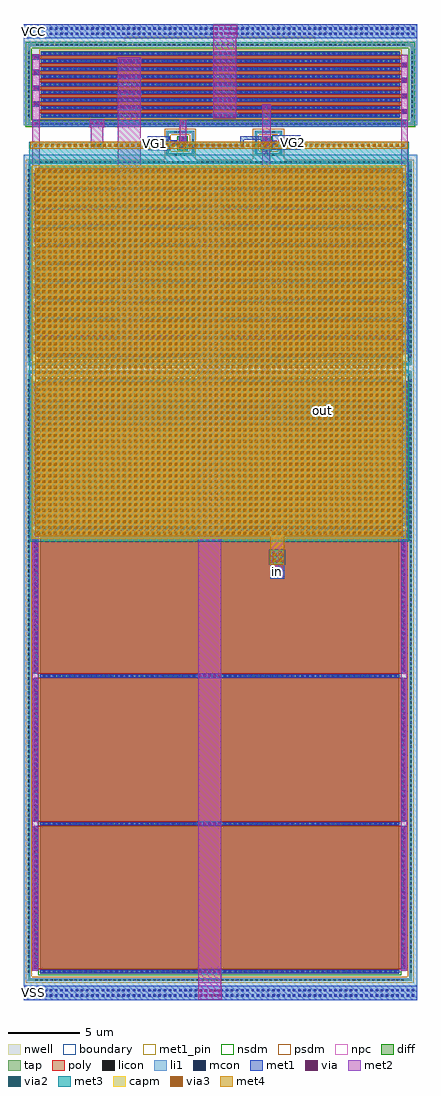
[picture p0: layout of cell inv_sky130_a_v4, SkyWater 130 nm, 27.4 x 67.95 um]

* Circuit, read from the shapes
.subckt inv_sky130_a_v4 VCC VG1 VG2 VSS in out
XM1 VSS out VSS VSS sky130_fd_pr__nfet_01v8 w=25 l=10 m=4
XM2 VSS n1 n2 VSS sky130_fd_pr__nfet_01v8 w=25 l=1 m=10
XM3 n1 VG1 n2 VSS sky130_fd_pr__nfet_01v8 w=0.5 l=0.15
XM4 n2 VG2 out VSS sky130_fd_pr__nfet_01v8 w=0.5 l=0.15
XM5 n2 n1 VCC VCC sky130_fd_pr__pfet_01v8 w=25 l=0.25 m=8
XC6 in n1 sky130_fd_pr__cap_mim_m3_1 w=26 l=26
.ends

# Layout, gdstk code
from math import pi, radians
import gdstk
lib = gdstk.Library(unit=1e-6, precision=1e-09)
def R(c, l, rs):  # rectangles x0, y0, x1, y1
    for r in rs: c.add(gdstk.rectangle(r[:2], r[2:], *l))
def A(c, l, x, y, w, h, nx, ny, dx, dy):  # array of equal rectangles
    R(c, l, [(x+i*dx, y+j*dy, x+i*dx+w, y+j*dy+h) for i in range(nx) for j in range(ny)])
nwell = (64, 20)
diff = (65, 20)
tap = (65, 44)
poly = (66, 20)
licon = (66, 44)
li1 = (67, 20)
mcon = (67, 44)
met1_pin = (68, 16)
met1 = (68, 20)
via = (68, 44)
met2 = (69, 20)
via2 = (69, 44)
met3 = (70, 20)
via3 = (70, 44)
met4 = (71, 20)
capm = (89, 44)
nsdm = (93, 44)
psdm = (94, 20)
npc = (95, 20)
boundary = (235, 4)

sky130_fd_pr__pfet_01v8_ = lib.new_cell('sky130_fd_pr__pfet_01v8_ND7MJ4')
R(sky130_fd_pr__pfet_01v8_, nwell, [(-2.995,-13.595,2.995,13.595)])
R(sky130_fd_pr__pfet_01v8_, diff, [(-2.305,-12.5,2.305,12.5)])
R(sky130_fd_pr__pfet_01v8_, tap, [(-2.815,-13.415,2.815,-13.245), (-2.815,-13.245,-2.645,13.245), (2.645,-13.245,2.815,13.245), (-2.815,13.245,2.815,13.415)])
A(sky130_fd_pr__pfet_01v8_, poly, -2.055, -12.985, 0.33, 0.33, 4, 1, 1.08, 0)
A(sky130_fd_pr__pfet_01v8_, poly, -2.015, -12.655, 0.25, 25.285, 4, 1, 1.08, 0)
A(sky130_fd_pr__pfet_01v8_, poly, -1.475, -12.63, 0.25, 25.285, 4, 1, 1.08, 0)
A(sky130_fd_pr__pfet_01v8_, poly, -1.515, 12.655, 0.33, 0.33, 4, 1, 1.08, 0)
A(sky130_fd_pr__pfet_01v8_, licon, -2.295, -13.415, 0.17, 0.17, 14, 2, 0.34, 26.66)
A(sky130_fd_pr__pfet_01v8_, licon, -1.975, -12.905, 0.17, 0.17, 4, 1, 1.08, 0)
A(sky130_fd_pr__pfet_01v8_, licon, -2.815, -12.835, 0.17, 0.17, 1, 76, 0, 0.34)
A(sky130_fd_pr__pfet_01v8_, licon, 2.645, -12.835, 0.17, 0.17, 1, 76, 0, 0.34)
A(sky130_fd_pr__pfet_01v8_, licon, -2.245, -12.325, 0.17, 0.17, 9, 73, 0.54, 0.34)
A(sky130_fd_pr__pfet_01v8_, licon, -1.435, 12.735, 0.17, 0.17, 4, 1, 1.08, 0)
A(sky130_fd_pr__pfet_01v8_, li1, -2.055, -12.905, 0.33, 0.17, 4, 1, 1.08, 0)
A(sky130_fd_pr__pfet_01v8_, li1, -2.245, -12.52, 0.17, 25.04, 9, 1, 0.54, 0)
A(sky130_fd_pr__pfet_01v8_, li1, -1.515, 12.735, 0.33, 0.17, 4, 1, 1.08, 0)
R(sky130_fd_pr__pfet_01v8_, li1, [(-2.815,-13.415,2.815,-13.245), (-2.815,-13.245,-2.645,13.245), (2.645,-13.245,2.815,13.245), (-2.815,13.245,2.815,13.415)])
A(sky130_fd_pr__pfet_01v8_, mcon, -1.975, -12.905, 0.17, 0.17, 4, 1, 1.08, 0)
A(sky130_fd_pr__pfet_01v8_, mcon, -2.245, -12.325, 0.17, 0.17, 9, 69, 0.54, 0.36)
A(sky130_fd_pr__pfet_01v8_, mcon, -1.435, 12.735, 0.17, 0.17, 4, 1, 1.08, 0)
A(sky130_fd_pr__pfet_01v8_, met1, -2.035, -12.935, 0.29, 0.23, 4, 1, 1.08, 0)
A(sky130_fd_pr__pfet_01v8_, met1, -2.275, -12.5, 0.23, 25, 9, 1, 0.54, 0)
A(sky130_fd_pr__pfet_01v8_, met1, -1.495, 12.705, 0.29, 0.23, 4, 1, 1.08, 0)
R(sky130_fd_pr__pfet_01v8_, nsdm, [(-2.94,-13.54,2.94,-13.12), (-2.94,-13.12,-2.52,13.12), (2.52,-13.12,2.94,13.12), (-2.94,13.12,2.94,13.54)])
R(sky130_fd_pr__pfet_01v8_, psdm, [(-2.43,-12.625,2.43,12.625)])
A(sky130_fd_pr__pfet_01v8_, npc, -2.075, -13.005, 0.37, 0.37, 4, 1, 1.08, 0)
A(sky130_fd_pr__pfet_01v8_, npc, -1.535, 12.635, 0.37, 0.37, 4, 1, 1.08, 0)
R(sky130_fd_pr__pfet_01v8_, boundary, [(-2.73,-13.33,2.73,13.33)])

sky130_fd_pr__nfet_01v8_ = lib.new_cell('sky130_fd_pr__nfet_01v8_FPTJ7W')
R(sky130_fd_pr__nfet_01v8_, diff, [(-6.595,-12.5,6.595,12.5)])
R(sky130_fd_pr__nfet_01v8_, tap, [(-7.105,-13.37,7.105,-13.2), (-7.105,-13.2,-6.935,13.2), (6.935,-13.2,7.105,13.2), (-7.105,13.2,7.105,13.37)])
A(sky130_fd_pr__nfet_01v8_, poly, -6.305, -12.94, 1, 25.88, 10, 1, 1.29, 0)
A(sky130_fd_pr__nfet_01v8_, licon, -6.545, -13.37, 0.17, 0.17, 39, 2, 0.34, 26.57)
A(sky130_fd_pr__nfet_01v8_, licon, -7.105, -12.835, 0.17, 0.17, 1, 76, 0, 0.34)
A(sky130_fd_pr__nfet_01v8_, licon, 6.935, -12.835, 0.17, 0.17, 1, 76, 0, 0.34)
A(sky130_fd_pr__nfet_01v8_, licon, -6.535, -12.325, 0.17, 0.17, 11, 73, 1.29, 0.34)
R(sky130_fd_pr__nfet_01v8_, licon, [(-6.06,-12.86,-5.89,-12.69), (-5.72,-12.86,-5.55,-12.69), (-4.77,-12.86,-4.6,-12.69), (-4.43,-12.86,-4.26,-12.69), (-3.48,-12.86,-3.31,-12.69), (-3.14,-12.86,-2.97,-12.69), (-2.19,-12.86,-2.02,-12.69), (-1.85,-12.86,-1.68,-12.69), (-0.9,-12.86,-0.73,-12.69), (-0.56,-12.86,-0.39,-12.69), (0.39,-12.86,0.56,-12.69), (0.73,-12.86,0.9,-12.69), (1.68,-12.86,1.85,-12.69), (2.02,-12.86,2.19,-12.69), (2.97,-12.86,3.14,-12.69), (3.31,-12.86,3.48,-12.69), (4.26,-12.86,4.43,-12.69), (4.6,-12.86,4.77,-12.69), (5.55,-12.86,5.72,-12.69), (5.89,-12.86,6.06,-12.69), (-6.06,12.69,-5.89,12.86), (-5.72,12.69,-5.55,12.86), (-4.77,12.69,-4.6,12.86), (-4.43,12.69,-4.26,12.86), (-3.48,12.69,-3.31,12.86), (-3.14,12.69,-2.97,12.86), (-2.19,12.69,-2.02,12.86), (-1.85,12.69,-1.68,12.86), (-0.9,12.69,-0.73,12.86), (-0.56,12.69,-0.39,12.86), (0.39,12.69,0.56,12.86), (0.73,12.69,0.9,12.86), (1.68,12.69,1.85,12.86), (2.02,12.69,2.19,12.86), (2.97,12.69,3.14,12.86), (3.31,12.69,3.48,12.86), (4.26,12.69,4.43,12.86), (4.6,12.69,4.77,12.86), (5.55,12.69,5.72,12.86), (5.89,12.69,6.06,12.86)])
A(sky130_fd_pr__nfet_01v8_, li1, -6.305, -12.86, 1, 0.17, 10, 2, 1.29, 25.55)
A(sky130_fd_pr__nfet_01v8_, li1, -6.535, -12.52, 0.17, 25.04, 11, 1, 1.29, 0)
R(sky130_fd_pr__nfet_01v8_, li1, [(-7.105,-13.37,7.105,-13.2), (-7.105,-13.2,-6.935,13.2), (6.935,-13.2,7.105,13.2), (-7.105,13.2,7.105,13.37)])
A(sky130_fd_pr__nfet_01v8_, mcon, -6.535, -12.325, 0.17, 0.17, 11, 69, 1.29, 0.36)
R(sky130_fd_pr__nfet_01v8_, mcon, [(-6.07,-12.86,-5.9,-12.69), (-5.71,-12.86,-5.54,-12.69), (-4.78,-12.86,-4.61,-12.69), (-4.42,-12.86,-4.25,-12.69), (-3.49,-12.86,-3.32,-12.69), (-3.13,-12.86,-2.96,-12.69), (-2.2,-12.86,-2.03,-12.69), (-1.84,-12.86,-1.67,-12.69), (-0.91,-12.86,-0.74,-12.69), (-0.55,-12.86,-0.38,-12.69), (0.38,-12.86,0.55,-12.69), (0.74,-12.86,0.91,-12.69), (1.67,-12.86,1.84,-12.69), (2.03,-12.86,2.2,-12.69), (2.96,-12.86,3.13,-12.69), (3.32,-12.86,3.49,-12.69), (4.25,-12.86,4.42,-12.69), (4.61,-12.86,4.78,-12.69), (5.54,-12.86,5.71,-12.69), (5.9,-12.86,6.07,-12.69), (-6.07,12.69,-5.9,12.86), (-5.71,12.69,-5.54,12.86), (-4.78,12.69,-4.61,12.86), (-4.42,12.69,-4.25,12.86), (-3.49,12.69,-3.32,12.86), (-3.13,12.69,-2.96,12.86), (-2.2,12.69,-2.03,12.86), (-1.84,12.69,-1.67,12.86), (-0.91,12.69,-0.74,12.86), (-0.55,12.69,-0.38,12.86), (0.38,12.69,0.55,12.86), (0.74,12.69,0.91,12.86), (1.67,12.69,1.84,12.86), (2.03,12.69,2.2,12.86), (2.96,12.69,3.13,12.86), (3.32,12.69,3.49,12.86), (4.25,12.69,4.42,12.86), (4.61,12.69,4.78,12.86), (5.54,12.69,5.71,12.86), (5.9,12.69,6.07,12.86)])
A(sky130_fd_pr__nfet_01v8_, met1, -6.285, -12.89, 0.96, 0.23, 10, 2, 1.29, 25.55)
A(sky130_fd_pr__nfet_01v8_, met1, -6.565, -12.5, 0.23, 25, 11, 1, 1.29, 0)
R(sky130_fd_pr__nfet_01v8_, nsdm, [(-6.72,-12.625,6.72,12.625)])
R(sky130_fd_pr__nfet_01v8_, psdm, [(-7.23,-13.495,7.23,-13.075), (-7.23,-13.075,-6.81,13.075), (6.81,-13.075,7.23,13.075), (-7.23,13.075,7.23,13.495)])
A(sky130_fd_pr__nfet_01v8_, npc, -6.16, -12.96, 0.71, 0.37, 10, 2, 1.29, 25.55)
R(sky130_fd_pr__nfet_01v8_, boundary, [(-7.02,-13.285,7.02,13.285)])

c_sky130_fd_pr__nfet_01v8_ = lib.new_cell('sky130_fd_pr__nfet_01v8_4MHCRP')
R(c_sky130_fd_pr__nfet_01v8_, diff, [(-20.725,-12.5,20.725,12.5)])
R(c_sky130_fd_pr__nfet_01v8_, tap, [(-21.235,-13.37,21.235,-13.2), (-21.235,-13.2,-21.065,13.2), (21.065,-13.2,21.235,13.2), (-21.235,13.2,21.235,13.37)])
A(c_sky130_fd_pr__nfet_01v8_, poly, -20.435, -12.94, 10, 25.88, 4, 1, 10.29, 0)
A(c_sky130_fd_pr__nfet_01v8_, licon, -20.655, -13.37, 0.17, 0.17, 122, 2, 0.34, 26.57)
A(c_sky130_fd_pr__nfet_01v8_, licon, -20.28, -12.86, 0.17, 0.17, 29, 2, 0.34, 25.55)
A(c_sky130_fd_pr__nfet_01v8_, licon, -9.99, -12.86, 0.17, 0.17, 29, 2, 0.34, 25.55)
A(c_sky130_fd_pr__nfet_01v8_, licon, 0.3, -12.86, 0.17, 0.17, 29, 2, 0.34, 25.55)
A(c_sky130_fd_pr__nfet_01v8_, licon, 10.59, -12.86, 0.17, 0.17, 29, 2, 0.34, 25.55)
A(c_sky130_fd_pr__nfet_01v8_, licon, -21.235, -12.835, 0.17, 0.17, 1, 76, 0, 0.34)
A(c_sky130_fd_pr__nfet_01v8_, licon, 21.065, -12.835, 0.17, 0.17, 1, 76, 0, 0.34)
A(c_sky130_fd_pr__nfet_01v8_, licon, -20.665, -12.325, 0.17, 0.17, 5, 73, 10.29, 0.34)
A(c_sky130_fd_pr__nfet_01v8_, li1, -20.435, -12.86, 10, 0.17, 4, 2, 10.29, 25.55)
A(c_sky130_fd_pr__nfet_01v8_, li1, -20.665, -12.52, 0.17, 25.04, 5, 1, 10.29, 0)
R(c_sky130_fd_pr__nfet_01v8_, li1, [(-21.235,-13.37,21.235,-13.2), (-21.235,-13.2,-21.065,13.2), (21.065,-13.2,21.235,13.2), (-21.235,13.2,21.235,13.37)])
A(c_sky130_fd_pr__nfet_01v8_, mcon, -20.2, -12.86, 0.17, 0.17, 27, 2, 0.36, 25.55)
A(c_sky130_fd_pr__nfet_01v8_, mcon, -9.91, -12.86, 0.17, 0.17, 27, 2, 0.36, 25.55)
A(c_sky130_fd_pr__nfet_01v8_, mcon, 0.38, -12.86, 0.17, 0.17, 27, 2, 0.36, 25.55)
A(c_sky130_fd_pr__nfet_01v8_, mcon, 10.67, -12.86, 0.17, 0.17, 27, 2, 0.36, 25.55)
A(c_sky130_fd_pr__nfet_01v8_, mcon, -20.665, -12.325, 0.17, 0.17, 5, 69, 10.29, 0.36)
A(c_sky130_fd_pr__nfet_01v8_, met1, -20.415, -12.89, 9.96, 0.23, 4, 2, 10.29, 25.55)
A(c_sky130_fd_pr__nfet_01v8_, met1, -20.695, -12.5, 0.23, 25, 5, 1, 10.29, 0)
R(c_sky130_fd_pr__nfet_01v8_, nsdm, [(-20.85,-12.625,20.85,12.625)])
R(c_sky130_fd_pr__nfet_01v8_, psdm, [(-21.36,-13.495,21.36,-13.075), (-21.36,-13.075,-20.94,13.075), (20.94,-13.075,21.36,13.075), (-21.36,13.075,21.36,13.495)])
A(c_sky130_fd_pr__nfet_01v8_, npc, -20.38, -12.96, 9.89, 0.37, 4, 2, 10.29, 25.55)
R(c_sky130_fd_pr__nfet_01v8_, boundary, [(-21.15,-13.285,21.15,13.285)])

c_sky130_fd_pr__nfet_01v8__ = lib.new_cell('sky130_fd_pr__nfet_01v8_L9KS9E')
R(c_sky130_fd_pr__nfet_01v8__, diff, [(-0.365,-0.405,0.365,0.095)])
R(c_sky130_fd_pr__nfet_01v8__, tap, [(-0.875,-0.965,0.875,-0.795), (-0.875,-0.795,-0.705,0.795), (0.705,-0.795,0.875,0.795), (-0.875,0.795,0.875,0.965)])
R(c_sky130_fd_pr__nfet_01v8__, poly, [(-0.075,-0.535,0.075,0.205), (-0.165,0.205,0.165,0.535)])
A(c_sky130_fd_pr__nfet_01v8__, licon, -0.875, -0.425, 0.17, 0.17, 1, 3, 0, 0.34)
A(c_sky130_fd_pr__nfet_01v8__, licon, 0.705, -0.425, 0.17, 0.17, 1, 3, 0, 0.34)
R(c_sky130_fd_pr__nfet_01v8__, licon, [(-0.255,-0.965,-0.085,-0.795), (0.085,-0.965,0.255,-0.795), (-0.305,-0.24,-0.135,-0.07), (0.135,-0.24,0.305,-0.07), (-0.085,0.285,0.085,0.455), (-0.255,0.795,-0.085,0.965), (0.085,0.795,0.255,0.965)])
R(c_sky130_fd_pr__nfet_01v8__, li1, [(-0.875,-0.965,0.875,-0.795), (-0.875,-0.795,-0.705,0.795), (0.705,-0.795,0.875,0.795), (-0.305,-0.425,-0.135,0.115), (0.135,-0.425,0.305,0.115), (-0.165,0.285,0.165,0.455), (-0.875,0.795,0.875,0.965)])
R(c_sky130_fd_pr__nfet_01v8__, mcon, [(-0.305,-0.24,-0.135,-0.07), (0.135,-0.24,0.305,-0.07), (-0.085,0.285,0.085,0.455)])
R(c_sky130_fd_pr__nfet_01v8__, met1, [(-0.335,-0.405,-0.105,0.095), (0.105,-0.405,0.335,0.095), (-0.145,0.255,0.145,0.485)])
R(c_sky130_fd_pr__nfet_01v8__, nsdm, [(-0.49,-0.53,0.49,0.22)])
R(c_sky130_fd_pr__nfet_01v8__, psdm, [(-1,-1.09,1,-0.67), (-1,-0.67,-0.58,0.67), (0.58,-0.67,1,0.67), (-1,0.67,1,1.09)])
R(c_sky130_fd_pr__nfet_01v8__, npc, [(-0.185,0.185,0.185,0.555)])
R(c_sky130_fd_pr__nfet_01v8__, boundary, [(-0.79,-0.88,0.79,0.88)])

sky130_fd_pr__cap_mim_m3 = lib.new_cell('sky130_fd_pr__cap_mim_m3_1_5UY5E6')
R(sky130_fd_pr__cap_mim_m3, met3, [(-13.93,-13.2,13.93,13.2)])
A(sky130_fd_pr__cap_mim_m3, via3, 13.57, -12.9, 0.2, 0.2, 1, 65, 0, 0.4)
A(sky130_fd_pr__cap_mim_m3, via3, -13.43, -12.7, 0.2, 0.2, 64, 64, 0.4, 0.4)
R(sky130_fd_pr__cap_mim_m3, met4, [(13.43,-13.14,13.91,13.14), (-13.535,-12.805,12.075,12.805)])
R(sky130_fd_pr__cap_mim_m3, capm, [(-13.73,-13,12.27,13)])
R(sky130_fd_pr__cap_mim_m3, boundary, [(-13.93,-13.2,12.47,13.2)])

inv_sky130_a_v4 = lib.new_cell('inv_sky130_a_v4')
R(inv_sky130_a_v4, nwell, [(38.85,54,52.1,54.05), (38.3,54.05,52.1,54.25), (38.3,54.25,51.55,55.2)])
R(inv_sky130_a_v4, li1, [(31.25,-11.9,58.65,-10.5), (31.25,-10.5,31.6,31.85), (58.25,-10.5,58.65,31.85), (31.25,31.85,58.65,32.3), (31.25,32.3,31.6,46.4), (58.25,32.3,58.65,46.35), (31.7,46.35,58.65,46.4), (31.25,46.4,58.65,46.95), (31.25,49,58.65,49.05), (31.25,49.05,31.6,54.55), (58.3,49.05,58.65,54.55), (38.85,54,52.1,54.05), (31.25,54.55,38.3,54.57), (52.1,54.55,58.65,54.57), (31.25,54.57,58.65,56.05)])
A(inv_sky130_a_v4, mcon, 32.71, -11.665, 0.17, 0.17, 72, 2, 0.36, 0.36)
A(inv_sky130_a_v4, mcon, 32.71, 55.285, 0.17, 0.17, 72, 2, 0.36, 0.36)
R(inv_sky130_a_v4, met1_pin, [(31.45,-11.9,32.45,-10.9), (48.4,17.42,49.4,18.42), (51.55,28.65,52.55,29.65), (39.9,47.25,40.9,48.25), (49.55,47.3,50.55,48.3), (31.45,55.05,32.45,56.05)])
A(inv_sky130_a_v4, met1, 31.85, -9.75, 0.4, 9.9, 1, 3, 0, 10.3)
A(inv_sky130_a_v4, met1, 57.55, -9.75, 0.4, 9.95, 1, 3, 0, 10.3)
A(inv_sky130_a_v4, met1, 31.85, 34.4, 0.4, 0.9, 1, 4, 0, 1.3)
A(inv_sky130_a_v4, met1, 57.55, 34.4, 0.4, 0.9, 1, 4, 0, 1.3)
A(inv_sky130_a_v4, met1, 31.85, 39.55, 0.4, 0.9, 1, 5, 0, 1.3)
A(inv_sky130_a_v4, met1, 57.55, 39.55, 0.4, 0.9, 1, 5, 0, 1.3)
A(inv_sky130_a_v4, met1, 57.6, 49.8, 0.4, 0.3, 1, 3, 0, 1.1)
A(inv_sky130_a_v4, met1, 31.85, 50.3, 0.45, 0.35, 1, 3, 0, 1.1)
A(inv_sky130_a_v4, met1, 44.4, 50.6, 1.7, 0.31, 1, 3, 0, 1.08)
R(inv_sky130_a_v4, met1, [(31.25,-11.9,58.65,-10.9), (43.36,-10.08,45.06,-9.77), (43.34,0.22,45.04,0.53), (43.34,10.51,45.04,10.82), (48.4,17.42,49.4,18.42), (48.35,18.42,49.45,19.42), (43.37,20.79,45.07,21.1), (31.85,21.15,32.25,28.1), (57.55,21.15,57.95,28.1), (31.85,28.1,57.95,29.8), (31.85,29.8,32.25,31.05), (57.55,29.8,57.95,31.1), (43.36,31.11,45.06,31.42), (37.77,32.76,39.47,33.07), (31.85,33.15,32.25,34.05), (57.55,33.15,57.95,34.05), (43.34,34.07,45.04,34.38), (37.78,35.34,39.48,35.65), (43.35,36.63,45.05,36.94), (37.76,37.92,39.46,38.23), (43.34,39.23,45.04,39.54), (37.75,40.49,39.45,40.8), (43.32,41.8,45.02,42.11), (37.76,43.08,39.46,43.39), (43.35,44.39,45.05,44.7), (37.74,45.62,39.45,45.98), (47.85,47,48.4,47.6), (39.9,47.25,41.4,47.6), (48.55,47.3,50.55,48.3), (42.1,47.4,46.575,47.65), (39.9,47.6,41.9,47.95), (46.325,47.65,46.575,47.975), (42.05,47.9,42.6,48.25), (47.8,47.9,48.4,47.975), (39.9,47.95,41.4,48.25), (46.325,47.975,48.4,48.225), (47.8,48.225,48.4,48.25), (31.85,48.9,58,49.4), (44.4,49.55,46.1,49.86), (37.76,50.06,39.46,50.37), (47.8,50.1,48.5,50.37), (37.76,51.11,39.46,51.42), (37.76,52.2,39.46,52.51), (57.6,53.05,58,53.35), (37.77,53.32,39.47,53.63), (31.85,53.55,32.3,53.9), (44.4,53.85,46.1,54.16), (31.25,55.05,58.65,56.05)])
A(inv_sky130_a_v4, via, 43.51, -11.64, 0.15, 0.15, 5, 2, 0.32, 0.32)
A(inv_sky130_a_v4, via, 43.495, -10, 0.15, 0.15, 5, 2, 0.32, 41.19)
A(inv_sky130_a_v4, via, 31.975, -9.675, 0.15, 0.15, 1, 31, 0, 0.32)
A(inv_sky130_a_v4, via, 57.675, -9.65, 0.15, 0.15, 1, 31, 0, 0.32)
A(inv_sky130_a_v4, via, 43.475, 0.3, 0.15, 0.15, 5, 2, 0.32, 10.29)
A(inv_sky130_a_v4, via, 31.975, 0.625, 0.15, 0.15, 1, 31, 0, 0.32)
A(inv_sky130_a_v4, via, 57.675, 0.65, 0.15, 0.15, 1, 31, 0, 0.32)
A(inv_sky130_a_v4, via, 31.975, 10.925, 0.15, 0.15, 1, 31, 0, 0.32)
A(inv_sky130_a_v4, via, 57.675, 10.95, 0.15, 0.15, 1, 31, 0, 0.32)
A(inv_sky130_a_v4, via, 48.505, 18.525, 0.15, 0.15, 3, 3, 0.32, 0.32)
A(inv_sky130_a_v4, via, 43.505, 20.87, 0.15, 0.15, 5, 1, 0.32, 0)
A(inv_sky130_a_v4, via, 31.975, 21.225, 0.15, 0.15, 1, 31, 0, 0.32)
A(inv_sky130_a_v4, via, 57.675, 21.25, 0.15, 0.15, 1, 31, 0, 0.32)
A(inv_sky130_a_v4, via, 48.025, 28.395, 0.15, 0.15, 1, 4, 0, 0.32)
A(inv_sky130_a_v4, via, 37.905, 32.84, 0.15, 0.15, 5, 2, 0.32, 20.56)
A(inv_sky130_a_v4, via, 31.975, 33.205, 0.15, 0.15, 1, 3, 0, 0.32)
A(inv_sky130_a_v4, via, 57.675, 33.205, 0.15, 0.15, 1, 3, 0, 0.32)
A(inv_sky130_a_v4, via, 43.475, 34.15, 0.15, 0.15, 5, 2, 0.32, 5.16)
A(inv_sky130_a_v4, via, 31.975, 34.455, 0.15, 0.15, 1, 3, 0, 0.32)
A(inv_sky130_a_v4, via, 57.675, 34.455, 0.15, 0.15, 1, 3, 0, 0.32)
A(inv_sky130_a_v4, via, 37.915, 35.42, 0.15, 0.15, 5, 1, 0.32, 0)
A(inv_sky130_a_v4, via, 31.975, 35.755, 0.15, 0.15, 1, 3, 0, 0.32)
A(inv_sky130_a_v4, via, 57.675, 35.755, 0.15, 0.15, 1, 3, 0, 0.32)
A(inv_sky130_a_v4, via, 43.485, 36.71, 0.15, 0.15, 5, 2, 0.32, 7.76)
A(inv_sky130_a_v4, via, 31.975, 37.055, 0.15, 0.15, 1, 3, 0, 0.32)
A(inv_sky130_a_v4, via, 57.675, 37.055, 0.15, 0.15, 1, 3, 0, 0.32)
A(inv_sky130_a_v4, via, 37.895, 38, 0.15, 0.15, 5, 2, 0.32, 5.16)
A(inv_sky130_a_v4, via, 31.975, 38.355, 0.15, 0.15, 1, 3, 0, 0.32)
A(inv_sky130_a_v4, via, 57.675, 38.355, 0.15, 0.15, 1, 3, 0, 0.32)
A(inv_sky130_a_v4, via, 31.975, 39.605, 0.15, 0.15, 1, 3, 0, 0.32)
A(inv_sky130_a_v4, via, 57.675, 39.605, 0.15, 0.15, 1, 3, 0, 0.32)
A(inv_sky130_a_v4, via, 37.885, 40.57, 0.15, 0.15, 5, 1, 0.32, 0)
A(inv_sky130_a_v4, via, 31.975, 40.905, 0.15, 0.15, 1, 3, 0, 0.32)
A(inv_sky130_a_v4, via, 57.675, 40.905, 0.15, 0.15, 1, 3, 0, 0.32)
A(inv_sky130_a_v4, via, 43.455, 41.88, 0.15, 0.15, 5, 1, 0.32, 0)
A(inv_sky130_a_v4, via, 31.975, 42.205, 0.15, 0.15, 1, 3, 0, 0.32)
A(inv_sky130_a_v4, via, 57.675, 42.205, 0.15, 0.15, 1, 3, 0, 0.32)
A(inv_sky130_a_v4, via, 31.975, 43.505, 0.15, 0.15, 1, 3, 0, 0.32)
A(inv_sky130_a_v4, via, 57.675, 43.505, 0.15, 0.15, 1, 3, 0, 0.32)
A(inv_sky130_a_v4, via, 31.975, 44.805, 0.15, 0.15, 1, 3, 0, 0.32)
A(inv_sky130_a_v4, via, 57.675, 44.805, 0.15, 0.15, 1, 3, 0, 0.32)
A(inv_sky130_a_v4, via, 37.88, 45.725, 0.15, 0.15, 5, 1, 0.32, 0)
A(inv_sky130_a_v4, via, 35.955, 49.075, 0.15, 0.15, 3, 1, 0.32, 0)
A(inv_sky130_a_v4, via, 44.535, 49.63, 0.15, 0.15, 5, 2, 0.32, 1.05)
A(inv_sky130_a_v4, via, 57.725, 49.875, 0.15, 0.15, 1, 3, 0, 1.1)
A(inv_sky130_a_v4, via, 37.895, 50.14, 0.15, 0.15, 5, 2, 0.32, 1.05)
A(inv_sky130_a_v4, via, 32, 50.4, 0.15, 0.15, 1, 3, 0, 1.1)
A(inv_sky130_a_v4, via, 44.535, 51.76, 0.15, 0.15, 5, 2, 0.32, 1.08)
A(inv_sky130_a_v4, via, 37.895, 52.28, 0.15, 0.15, 5, 1, 0.32, 0)
A(inv_sky130_a_v4, via, 44.535, 53.93, 0.15, 0.15, 5, 1, 0.32, 0)
A(inv_sky130_a_v4, via, 44.565, 55.32, 0.15, 0.15, 5, 2, 0.32, 0.32)
R(inv_sky130_a_v4, via, [(48.05,47.065,48.2,47.215), (48.05,47.385,48.2,47.535), (42.25,48,42.4,48.15), (48.025,48,48.175,48.15), (32.025,49.075,32.175,49.225), (57.7,49.075,57.85,49.225), (42.25,49.1,42.4,49.25), (47.915,50.16,48.065,50.31), (48.235,50.16,48.385,50.31), (57.725,53.125,57.875,53.275), (32,53.65,32.15,53.8)])
R(inv_sky130_a_v4, met2, [(43.41,-11.87,45.04,-10.94), (43.41,-10.94,45.01,-7.76), (31.85,-9.85,32.25,31.15), (57.5,-9.85,57.95,31.2), (43.4,-7.76,45.01,-5.16), (43.4,-5.16,45,0.17), (43.39,0.17,45,0.58), (43.4,0.58,45,10.46), (43.39,10.46,45,10.87), (43.4,10.87,45,20.74), (48.4,18.37,49.4,19.47), (43.4,20.74,45.02,21.15), (43.4,21.15,45,24.02), (43.4,24.02,45.01,24.52), (43.41,24.52,45.01,26.25), (43.4,26.25,45.01,28.1), (43.4,28.1,45,29.2), (47.85,28.1,48.4,47.6), (43.4,29.2,45.01,30.33), (43.41,30.33,45.01,32.38), (43.4,32.38,45.01,33.28), (37.82,32.71,39.42,32.73), (37.81,32.73,39.42,33.12), (31.85,33.05,32.35,53.95), (57.55,33.05,58,53.9), (37.81,33.12,39.41,35.29), (43.4,33.28,45,34.02), (43.39,34.02,45,34.43), (43.4,34.43,45,39.18), (37.81,35.29,39.43,35.7), (37.81,35.7,39.41,40.44), (43.39,39.18,45,39.59), (43.4,39.59,45,41.75), (37.8,40.44,39.41,40.85), (37.81,40.85,39.41,45.57), (43.37,41.75,45,42.16), (43.4,42.16,45,44.89), (37.79,45.57,39.41,46.03), (37.81,46.03,39.41,53.27), (35.9,47.35,36.8,48.85), (47.9,47.6,48.35,47.65), (42.1,47.85,42.55,49.4), (47.85,47.85,48.45,50.47), (35.85,48.85,36.85,49.45), (44.45,49.49,46.05,55.12), (37.81,53.27,39.42,53.68), (37.81,53.68,39.41,53.73), (44.45,55.12,46.1,55.95), (44.46,55.95,46.1,55.99)])
R(inv_sky130_a_v4, via2, [(48.6,18.62,48.8,18.82), (49,18.62,49.2,18.82), (48.6,19.02,48.8,19.22), (49,19.02,49.2,19.22), (36.05,47.5,36.25,47.7), (36.45,47.5,36.65,47.7)])
R(inv_sky130_a_v4, met3, [(48.35,18.395,49.45,19.445), (35.9,47.4,36.8,47.8)])
R(inv_sky130_a_v4, via3, [(48.6,18.62,48.8,18.82), (49,18.62,49.2,18.82), (48.6,19.02,48.8,19.22), (49,19.02,49.2,19.22)])
R(inv_sky130_a_v4, met4, [(48.395,18.415,49.405,19.425), (48.4,19.425,49.4,20.69)])
R(inv_sky130_a_v4, psdm, [(31.405,32.025,58.395,32.155), (41.055,46.615,43.235,46.755), (47.205,46.615,49.385,46.755)])
inv_sky130_a_v4.add(gdstk.Reference(sky130_fd_pr__pfet_01v8_, (44.945,51.845), rotation=3*pi/2))
inv_sky130_a_v4.add(gdstk.Reference(sky130_fd_pr__nfet_01v8_, (44.9,39.385), rotation=pi/2))
inv_sky130_a_v4.add(gdstk.Reference(c_sky130_fd_pr__nfet_01v8_, (44.9,10.665), rotation=pi/2))
inv_sky130_a_v4.add(gdstk.Reference(c_sky130_fd_pr__nfet_01v8__, (42.145,47.755), rotation=pi/2))
inv_sky130_a_v4.add(gdstk.Reference(sky130_fd_pr__cap_mim_m3, (44.85,33.93), rotation=pi/2))
inv_sky130_a_v4.add(gdstk.Reference(c_sky130_fd_pr__nfet_01v8__, (48.295,47.755), rotation=3*pi/2))
inv_sky130_a_v4.add(gdstk.Label('VG1', (40.4,47.75), layer=68, texttype=5))
inv_sky130_a_v4.add(gdstk.Label('VCC', (31.95,55.55), layer=68, texttype=5))
inv_sky130_a_v4.add(gdstk.Label('VG2', (50.05,47.8), layer=68, texttype=5))
inv_sky130_a_v4.add(gdstk.Label('out', (52.05,29.15), layer=68, texttype=5))
inv_sky130_a_v4.add(gdstk.Label('in', (48.9,17.92), layer=68, texttype=5))
inv_sky130_a_v4.add(gdstk.Label('VSS', (31.95,-11.4), layer=68, texttype=5))

lib.write_gds('inv_sky130_a_v4.gds')
